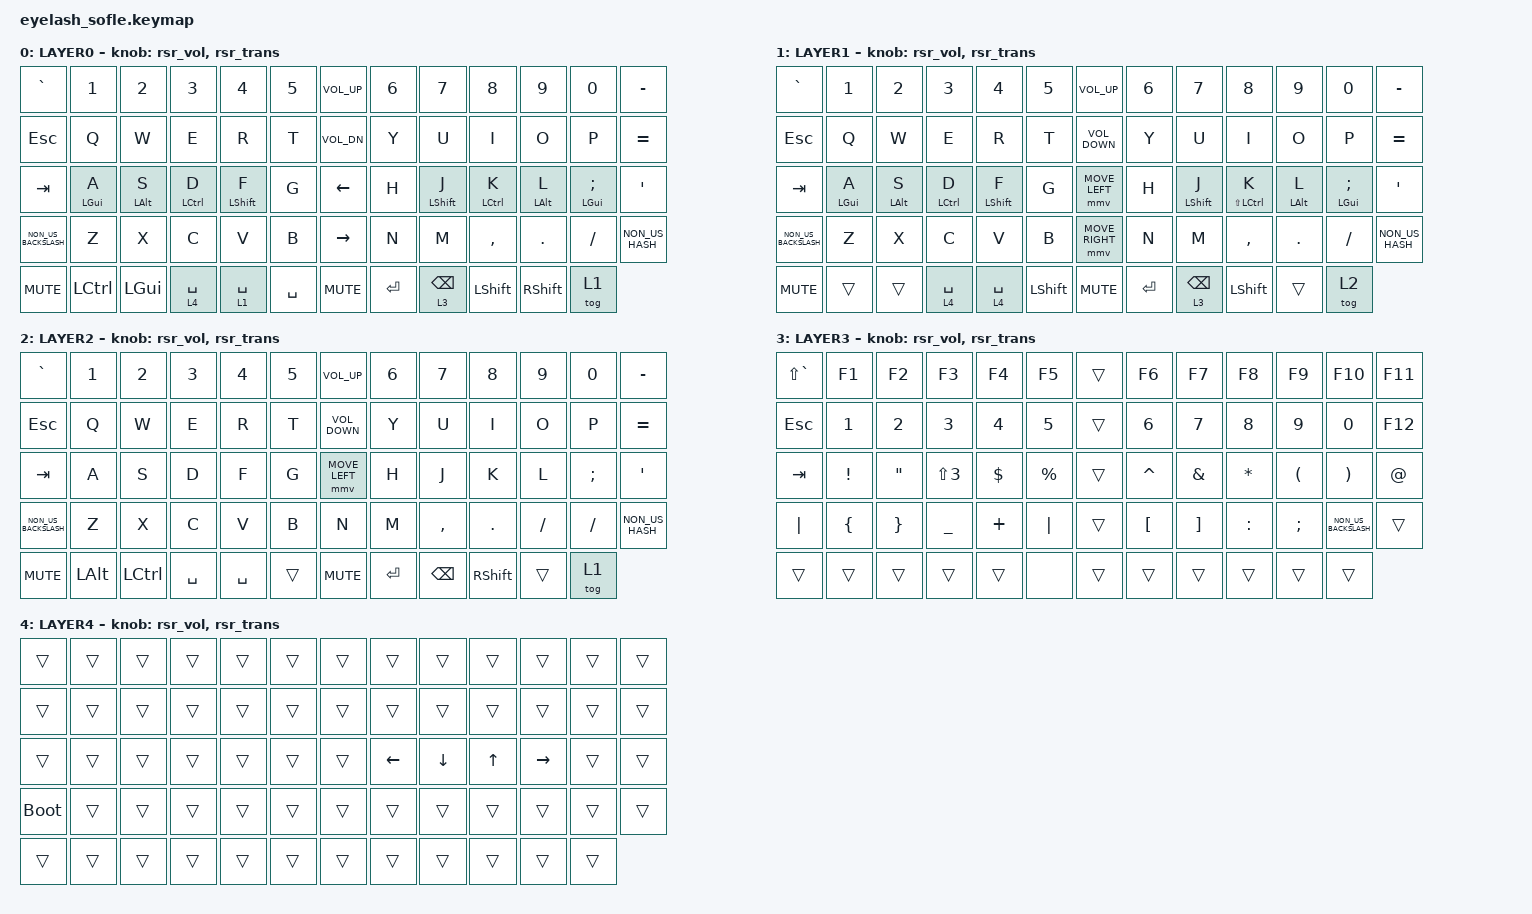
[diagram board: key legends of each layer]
#define ZMK_POINTING_DEFAULT_MOVE_VAL 1200  // 600
#define ZMK_POINTING_DEFAULT_SCRL_VAL 25   // 10

#include <input/processors.dtsi>
#include <zephyr/dt-bindings/input/input-event-codes.h>
#include <behaviors/runtime-sensor-rotate.dtsi>
#include <behaviors.dtsi>
#include <dt-bindings/zmk/keys.h>
#include <dt-bindings/zmk/pointing.h>

&mmv_input_listener { input-processors = <&zip_xy_scaler 2 1>; };

&msc_input_listener { input-processors = <&zip_scroll_scaler 2 1>; };

&msc {
    acceleration-exponent = <1>;      // 0
    time-to-max-speed-ms = <100>;       // 300
    delay-ms = <0>;                   // 0
};

&mmv {
    time-to-max-speed-ms = <500>;
    acceleration-exponent = <1>;
    trigger-period-ms = <16>;
};

&soft_off { hold-time-ms = <2000>; };

/ {
    behaviors {
        rsr_vol: rsr_vol {
            compatible = "zmk,behavior-runtime-sensor-rotate";
            #sensor-binding-cells = <0>;
            tap-ms = <5>;
            cw-binding = <&kp C_VOL_UP>;
            ccw-binding = <&kp C_VOL_DN>;
        };

        rsr_trans: rsr_trans {
            compatible = "zmk,behavior-runtime-sensor-rotate";
            #sensor-binding-cells = <0>;
            tap-ms = <0>;
        };

        home_row: home_row {
            compatible = "zmk,behavior-hold-tap";
            label = "HOME_ROW";
            bindings = <&kp>, <&kp>;

            #binding-cells = <2>;
            tapping-term-ms = <280>;
            quick-tap-ms = <200>;
            flavor = "balanced";
        };

        my_layertap: my_layertap {
            compatible = "zmk,behavior-hold-tap";
            label = "MY_LAYERTAP";
            bindings = <&mo>, <&kp>;

            #binding-cells = <2>;
            tapping-term-ms = <280>;
            quick-tap-ms = <200>;
            flavor = "balanced";
        };
    };

    combos {
        compatible = "zmk,combos";

        softoff {
            bindings = <&soft_off>;
            key-positions = <14 28 40>;
        };
    };

    macros {
        SHIFT_MCLK: SHIFT_MCLK {
            compatible = "zmk,behavior-macro";
            #binding-cells = <0>;
            bindings =
                <&macro_press>,
                <&kp LEFT_SHIFT>,
                <&macro_press>,
                <&mkp MB3>,
                <&macro_pause_for_release>,
                <&macro_release>,
                <&kp LEFT_SHIFT &mkp MB3>;

            label = "SHIFT_MCLK";
        };
    };

    keymap {
        compatible = "zmk,keymap";

        layer0 {
            bindings = <
&kp GRAVE             &kp N1                &kp N2                &kp N3                    &kp N4                  &kp N5       &kp C_VOLUME_UP  &kp N6     &kp N7                    &kp N8                    &kp N9                &kp N0                        &kp MINUS
&kp ESCAPE            &kp Q                 &kp W                 &kp E                     &kp R                   &kp T        &kp C_VOL_DN     &kp Y      &kp U                     &kp I                     &kp O                 &kp P                         &kp EQUAL
&kp TAB               &home_row LEFT_GUI A  &home_row LEFT_ALT S  &home_row LEFT_CONTROL D  &home_row LEFT_SHIFT F  &kp G        &kp LEFT_ARROW   &kp H      &home_row LEFT_SHIFT J    &home_row LEFT_CONTROL K  &home_row LEFT_ALT L  &home_row LEFT_GUI SEMICOLON  &kp SINGLE_QUOTE
&kp NON_US_BACKSLASH  &kp Z                 &kp X                 &kp C                     &kp V                   &kp B        &kp RIGHT_ARROW  &kp N      &kp M                     &kp COMMA                 &kp DOT               &kp FSLH                      &kp NON_US_HASH
&kp C_MUTE            &kp LCTRL             &kp LEFT_GUI          &my_layertap 4 SPACE      &my_layertap 1 SPACE    &kp SPACE    &kp C_MUTE       &kp ENTER  &my_layertap 3 BACKSPACE  &kp LEFT_SHIFT            &kp RIGHT_SHIFT       &tog 1
            >;

            sensor-bindings = <&rsr_vol &rsr_trans>;
            display-name = "LAYER0";
        };

        layer_1 {
            bindings = <
&kp GRAVE             &kp N1                &kp N2                &kp N3                    &kp N4                  &kp N5       &kp C_VOLUME_UP    &kp N6     &kp N7                    &kp N8                        &kp N9                &kp N0                        &kp MINUS
&kp ESC               &kp Q                 &kp W                 &kp E                     &kp R                   &kp T        &kp C_VOLUME_DOWN  &kp Y      &kp U                     &kp I                         &kp O                 &kp P                         &kp EQUAL
&kp TAB               &home_row LEFT_GUI A  &home_row LEFT_ALT S  &home_row LEFT_CONTROL D  &home_row LEFT_SHIFT F  &kp G        &mmv MOVE_LEFT     &kp H      &home_row LEFT_SHIFT J    &home_row LS(LEFT_CONTROL) K  &home_row LEFT_ALT L  &home_row LEFT_GUI SEMICOLON  &kp APOS
&kp NON_US_BACKSLASH  &kp Z                 &kp X                 &kp C                     &kp V                   &kp B        &mmv MOVE_RIGHT    &kp N      &kp M                     &kp COMMA                     &kp DOT               &kp FSLH                      &kp NON_US_HASH
&kp C_MUTE            &trans                &trans                &my_layertap 4 SPACE      &my_layertap 4 SPACE    &kp LSHFT    &kp C_MUTE         &kp ENTER  &my_layertap 3 BACKSPACE  &kp LEFT_SHIFT                &trans                &tog 2
            >;

            sensor-bindings = <&rsr_vol &rsr_trans>;
            display-name = "LAYER1";
        };

        layer_2 {
            bindings = <
&kp GRAVE             &kp N1        &kp N2            &kp N3     &kp N4     &kp N5    &kp C_VOLUME_UP    &kp N6   &kp N7     &kp N8     &kp N9    &kp N0    &kp MINUS
&kp ESC               &kp Q         &kp W             &kp E      &kp R      &kp T     &kp C_VOLUME_DOWN  &kp Y    &kp U      &kp I      &kp O     &kp P     &kp EQUAL
&kp TAB               &kp A         &kp S             &kp D      &kp F      &kp G     &mmv MOVE_LEFT     &kp H    &kp J      &kp K      &kp L     &kp SEMI  &kp SQT
&kp NON_US_BACKSLASH  &kp Z         &kp X             &kp C      &kp V      &kp B     &kp N              &kp M    &kp COMMA  &kp DOT    &kp FSLH  &kp FSLH  &kp NON_US_HASH
&kp C_MUTE            &kp LEFT_ALT  &kp LEFT_CONTROL  &kp SPACE  &kp SPACE  &trans    &kp C_MUTE         &kp RET  &kp BSPC   &kp RSHFT  &trans    &tog 1
            >;

            display-name = "LAYER2";
            sensor-bindings = <&rsr_vol &rsr_trans>;
        };

        layer_3 {
            bindings = <
&kp LS(GRAVE)  &kp F1           &kp F2             &kp F3            &kp F4        &kp F5         &trans  &kp F6            &kp F7             &kp F8        &kp F9                &kp F10                &kp F11
&kp ESC        &kp NUMBER_1     &kp NUMBER_2       &kp NUMBER_3      &kp NUMBER_4  &kp N5         &trans  &kp NUMBER_6      &kp N7             &kp N8        &kp N9                &kp N0                 &kp F12
&kp TAB        &kp EXCLAMATION  &kp DOUBLE_QUOTES  &kp LS(NUMBER_3)  &kp DOLLAR    &kp PERCENT    &trans  &kp CARET         &kp AMPERSAND      &kp ASTERISK  &kp LEFT_PARENTHESIS  &kp RIGHT_PARENTHESIS  &kp AT_SIGN
&kp PIPE       &kp LEFT_BRACE   &kp RIGHT_BRACE    &kp UNDERSCORE    &kp PLUS      &kp PIPE       &trans  &kp LEFT_BRACKET  &kp RIGHT_BRACKET  &kp COLON     &kp SEMICOLON         &kp NON_US_BACKSLASH   &trans
&trans         &trans           &trans             &trans            &trans        &none          &trans  &trans            &trans             &trans        &trans                &trans
            >;

            display-name = "LAYER3";
            sensor-bindings = <&rsr_vol &rsr_trans>;
        };

        layer_4 {
            bindings = <
&trans       &trans  &trans  &trans  &trans  &trans    &trans  &trans          &trans    &trans        &trans     &trans  &trans
&trans       &trans  &trans  &trans  &trans  &trans    &trans  &trans          &trans    &trans        &trans     &trans  &trans
&trans       &trans  &trans  &trans  &trans  &trans    &trans  &kp LEFT_ARROW  &kp DOWN  &kp UP_ARROW  &kp RIGHT  &trans  &trans
&bootloader  &trans  &trans  &trans  &trans  &trans    &trans  &trans          &trans    &trans        &trans     &trans  &trans
&trans       &trans  &trans  &trans  &trans  &trans    &trans  &trans          &trans    &trans        &trans     &trans
            >;

            display-name = "LAYER4";
            sensor-bindings = <&rsr_vol &rsr_trans>;
        };
    };
};
